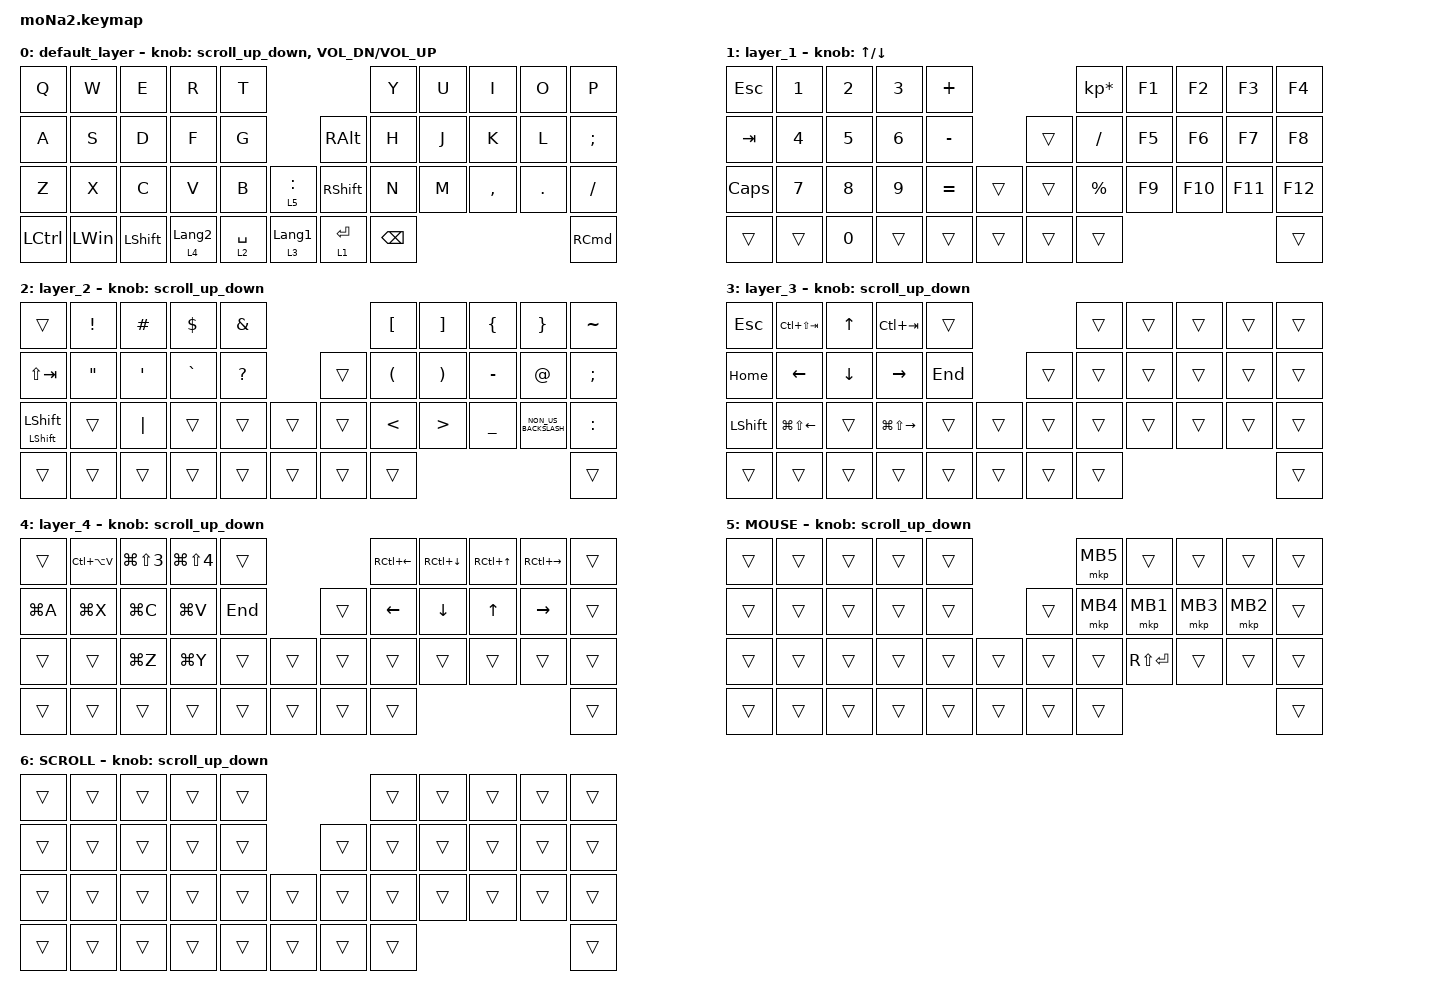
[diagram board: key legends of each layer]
#include <behaviors.dtsi>
#include <dt-bindings/zmk/keys.h>
#include <dt-bindings/zmk/pointing.h>

#define ZMK_POINTING_DEFAULT_SCRL_VAL 100
#define MOUSE 5
#define SCROLL 6

&mt {
    flavor = "balanced";
    quick-tap-ms = <0>;
};

/ {
    combos { compatible = "zmk,combos"; };

    macros {
        to_layer_0: to_layer_0 {
            compatible = "zmk,behavior-macro-one-param";
            #binding-cells = <1>;
            bindings = <&to 0 &macro_param_1to1 &kp MACRO_PLACEHOLDER>;
            label = "TO_LAYER_0";
        };
    };

    behaviors {
        lt_to_layer_0: lt_to_layer_0 {
            compatible = "zmk,behavior-hold-tap";
            label = "LAYER_TAP_TO_0";
            bindings = <&mo>, <&to_layer_0>;

            #binding-cells = <2>;
            tapping-term-ms = <200>;
        };

        scroll_up_down: behavior_sensor_rotate_mouse_wheel_up_down {
            compatible = "zmk,behavior-sensor-rotate";
            #sensor-binding-cells = <0>;
            bindings = <&msc SCRL_UP>, <&msc SCRL_DOWN>;

            tap-ms = <20>;
        };
    };

    keymap {
        compatible = "zmk,keymap";

        default_layer {
            bindings = <
&kp Q      &kp W         &kp E           &kp R             &kp T                                             &kp Y          &kp U  &kp I      &kp O    &kp P
&kp A      &kp S         &kp D           &kp F             &kp G                            &kp RIGHT_ALT    &kp H          &kp J  &kp K      &kp L    &kp SEMICOLON
&kp Z      &kp X         &kp C           &kp V             &kp B        &lt 5 COLON         &kp RIGHT_SHIFT  &kp N          &kp M  &kp COMMA  &kp DOT  &kp SLASH
&kp LCTRL  &kp LEFT_WIN  &kp LEFT_SHIFT  &lt 4 LANGUAGE_2  &lt 2 SPACE  &lt 3 LANGUAGE_1    &lt 1 RETURN     &kp BACKSPACE                             &kp RIGHT_COMMAND
            >;

            sensor-bindings =
                <&scroll_up_down>,
                <&inc_dec_kp C_VOL_DN C_VOL_UP>;
        };

        layer_1 {
            bindings = <
&kp ESCAPE    &kp NUMBER_1  &kp NUMBER_2  &kp NUMBER_3  &kp PLUS                     &kp KP_MULTIPLY  &kp F1  &kp F2   &kp F3   &kp F4
&kp TAB       &kp NUMBER_4  &kp NUMBER_5  &kp NUMBER_6  &kp MINUS            &trans  &kp SLASH        &kp F5  &kp F6   &kp F7   &kp F8
&kp CAPSLOCK  &kp NUMBER_7  &kp NUMBER_8  &kp NUMBER_9  &kp EQUAL  &trans    &trans  &kp PERCENT      &kp F9  &kp F10  &kp F11  &kp F12
&trans        &trans        &kp NUMBER_0  &trans        &trans     &trans    &trans  &trans                                     &trans
            >;

            sensor-bindings = <&inc_dec_kp UP DOWN>;
        };

        layer_2 {
            bindings = <
&trans                     &kp EXCLAMATION    &kp HASH  &kp DOLLAR  &kp AMPERSAND                    &kp LEFT_BRACKET      &kp RIGHT_BRACKET      &kp LEFT_BRACE  &kp RIGHT_BRACE       &kp TILDE
&kp LS(TAB)                &kp DOUBLE_QUOTES  &kp SQT   &kp GRAVE   &kp QUESTION             &trans  &kp LEFT_PARENTHESIS  &kp RIGHT_PARENTHESIS  &kp MINUS       &kp AT_SIGN           &kp SEMICOLON
&mt LEFT_SHIFT LEFT_SHIFT  &trans             &kp PIPE  &trans      &trans         &trans    &trans  &kp LESS_THAN         &kp GREATER_THAN       &kp UNDERSCORE  &kp NON_US_BACKSLASH  &kp COLON
&trans                     &trans             &trans    &trans      &trans         &trans    &trans  &trans                                                                             &trans
            >;

            sensor-bindings = <&scroll_up_down>;
        };

        layer_3 {
            bindings = <
&kp ESCAPE      &kp LC(LS(TAB))         &kp UP_ARROW    &kp LC(TAB)              &trans                     &trans  &trans  &trans  &trans  &trans
&kp HOME        &kp LEFT_ARROW          &kp DOWN_ARROW  &kp RIGHT_ARROW          &kp END            &trans  &trans  &trans  &trans  &trans  &trans
&kp LEFT_SHIFT  &kp LG(LS(LEFT_ARROW))  &trans          &kp LG(LS(RIGHT_ARROW))  &trans   &trans    &trans  &trans  &trans  &trans  &trans  &trans
&trans          &trans                  &trans          &trans                   &trans   &trans    &trans  &trans                          &trans
            >;

            sensor-bindings = <&scroll_up_down>;
        };

        layer_4 {
            bindings = <
&trans     &kp LC(LA(V))  &kp LG(LS(NUMBER_3))  &kp LG(LS(NUMBER_4))  &trans                     &kp RC(LEFT_ARROW)  &kp RC(DOWN_ARROW)  &kp RC(UP_ARROW)  &kp RC(RIGHT_ARROW)  &trans
&kp LG(A)  &kp LG(X)      &kp LG(C)             &kp LG(V)             &kp END            &trans  &kp LEFT_ARROW      &kp DOWN_ARROW      &kp UP_ARROW      &kp RIGHT_ARROW      &trans
&trans     &trans         &kp LG(Z)             &kp LG(Y)             &trans   &trans    &trans  &trans              &trans              &trans            &trans               &trans
&trans     &trans         &trans                &trans                &trans   &trans    &trans  &trans                                                                         &trans
            >;

            sensor-bindings = <&scroll_up_down>;
        };

        MOUSE {
            bindings = <
&trans  &trans  &trans  &trans  &trans                    &mkp MB5  &trans          &trans    &trans    &trans
&trans  &trans  &trans  &trans  &trans            &trans  &mkp MB4  &mkp MB1        &mkp MB3  &mkp MB2  &trans
&trans  &trans  &trans  &trans  &trans  &trans    &trans  &trans    &kp RS(RETURN)  &trans    &trans    &trans
&trans  &trans  &trans  &trans  &trans  &trans    &trans  &trans                                        &trans
            >;

            sensor-bindings = <&scroll_up_down>;
        };

        SCROLL {
            bindings = <
&trans  &trans  &trans  &trans  &trans                    &trans  &trans  &trans  &trans  &trans
&trans  &trans  &trans  &trans  &trans            &trans  &trans  &trans  &trans  &trans  &trans
&trans  &trans  &trans  &trans  &trans  &trans    &trans  &trans  &trans  &trans  &trans  &trans
&trans  &trans  &trans  &trans  &trans  &trans    &trans  &trans                          &trans
            >;

            sensor-bindings = <&scroll_up_down>;
        };
    };
};
